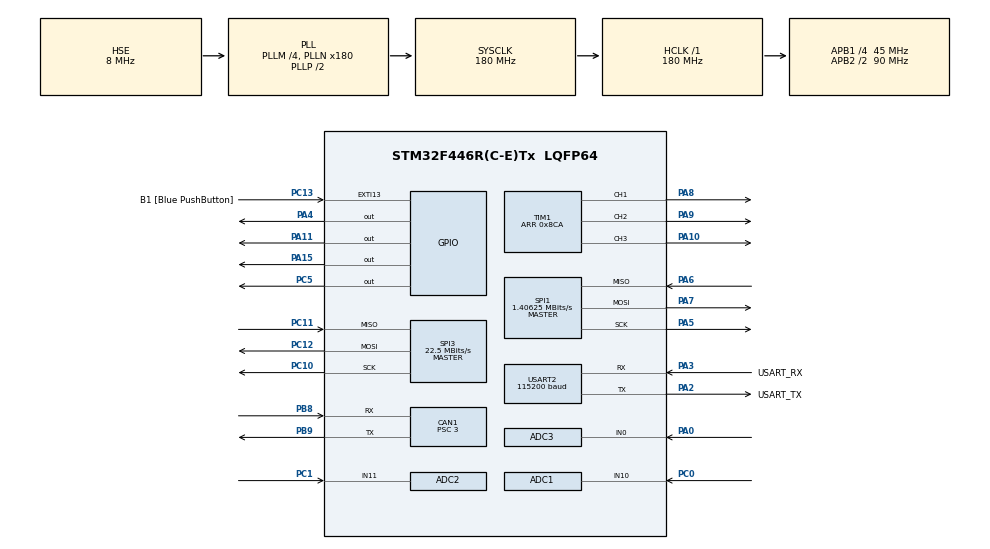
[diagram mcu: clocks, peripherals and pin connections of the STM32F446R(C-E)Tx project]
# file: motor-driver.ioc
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ADC1.Channel-0\#ChannelRegularConversion=ADC_CHANNEL_10
ADC1.ClockPrescaler=ADC_CLOCK_SYNC_PCLK_DIV4
ADC1.EOCSelection=ADC_EOC_SINGLE_CONV
ADC1.ExternalTrigConv=ADC_SOFTWARE_START
ADC1.Mode=ADC_TRIPLEMODE_REGSIMULT
ADC1.NbrOfConversion=1
ADC1.NbrOfConversionFlag=1
ADC1.Rank-0\#ChannelRegularConversion=1
ADC1.SamplingTime-0\#ChannelRegularConversion=ADC_SAMPLETIME_3CYCLES
ADC1.master=1
ADC2.Channel-0\#ChannelRegularConversion=ADC_CHANNEL_11
ADC2.ClockPrescaler=ADC_CLOCK_SYNC_PCLK_DIV4
ADC2.Mode=ADC_TRIPLEMODE_REGSIMULT
ADC2.NbrOfConversionFlag=1
ADC2.Rank-0\#ChannelRegularConversion=1
ADC2.SamplingTime-0\#ChannelRegularConversion=ADC_SAMPLETIME_3CYCLES
ADC3.Channel-2\#ChannelRegularConversion=ADC_CHANNEL_0
ADC3.ClockPrescaler=ADC_CLOCK_SYNC_PCLK_DIV4
ADC3.Mode=ADC_TRIPLEMODE_REGSIMULT
ADC3.NbrOfConversionFlag=1
ADC3.Rank-2\#ChannelRegularConversion=1
ADC3.SamplingTime-2\#ChannelRegularConversion=ADC_SAMPLETIME_3CYCLES
CAN1.BS1=CAN_BS1_12TQ
CAN1.BS2=CAN_BS2_2TQ
CAN1.CalculateBaudRate=1000000
CAN1.CalculateTimeBit=1000
CAN1.CalculateTimeQuantum=66.66666666666666
CAN1.Prescaler=3
Mcu.Family=STM32F4
Mcu.Name=STM32F446R(C-E)Tx
Mcu.Package=LQFP64
NVIC.CAN1_RX0_IRQn=true\:0\:0\:false\:false\:true\:true\:true\:true
NVIC.PriorityGroup=NVIC_PRIORITYGROUP_0
NVIC.TIM1_UP_TIM10_IRQn=true\:0\:0\:false\:false\:true\:true\:true\:true
NVIC.USART2_IRQn=true\:0\:0\:false\:false\:true\:true\:true\:true
PA0-WKUP.Signal=ADCx_IN0
PA10.GPIO_Speed=GPIO_SPEED_FREQ_VERY_HIGH
PA10.Signal=S_TIM1_CH3
PA11.GPIO_Speed=GPIO_SPEED_FREQ_VERY_HIGH
PA11.Signal=GPIO_Output
PA13.GPIO_Label=TMS
PA13.Mode=Serial_Wire
PA13.Signal=SYS_JTMS-SWDIO
PA14.GPIO_Label=TCK
PA14.Mode=Serial_Wire
PA14.Signal=SYS_JTCK-SWCLK
PA15.GPIO_Speed=GPIO_SPEED_FREQ_VERY_HIGH
PA15.Signal=GPIO_Output
PA2.GPIO_Label=USART_TX
PA2.Mode=Asynchronous
PA2.Signal=USART2_TX
PA3.GPIO_Label=USART_RX
PA3.Mode=Asynchronous
PA3.Signal=USART2_RX
PA4.GPIO_Speed=GPIO_SPEED_FREQ_VERY_HIGH
PA4.Signal=GPIO_Output
PA5.Mode=Full_Duplex_Master
PA5.Signal=SPI1_SCK
PA6.Mode=Full_Duplex_Master
PA6.Signal=SPI1_MISO
PA7.Mode=Full_Duplex_Master
PA7.Signal=SPI1_MOSI
PA8.GPIO_Speed=GPIO_SPEED_FREQ_VERY_HIGH
PA8.Signal=S_TIM1_CH1
PA9.GPIO_Speed=GPIO_SPEED_FREQ_VERY_HIGH
PA9.Signal=S_TIM1_CH2
PB3.GPIO_Label=SWO
PB3.Signal=SYS_JTDO-SWO
PB8.Mode=CAN_Activate
PB8.Signal=CAN1_RX
PB9.Mode=CAN_Activate
PB9.Signal=CAN1_TX
PC0.Signal=ADCx_IN10
PC1.Signal=ADCx_IN11
PC10.Mode=Full_Duplex_Master
PC10.Signal=SPI3_SCK
PC11.Mode=Full_Duplex_Master
PC11.Signal=SPI3_MISO
PC12.Mode=Full_Duplex_Master
PC12.Signal=SPI3_MOSI
PC13.GPIO_Label=B1 [Blue PushButton]
PC13.GPIO_ModeDefaultEXTI=GPIO_MODE_IT_FALLING
PC13.Signal=GPXTI13
PC5.GPIO_Speed=GPIO_SPEED_FREQ_VERY_HIGH
PC5.Signal=GPIO_Output
PH0-OSC_IN.Mode=HSE-External-Oscillator
PH0-OSC_IN.Signal=RCC_OSC_IN
PH1-OSC_OUT.Mode=HSE-External-Oscillator
PH1-OSC_OUT.Signal=RCC_OSC_OUT
ProjectManager.HeapSize=0x200
ProjectManager.StackSize=0x400
ProjectManager.TargetToolchain=STM32CubeIDE
RCC.48MHZClocksFreq_Value=84000000
RCC.AHBFreq_Value=180000000
RCC.APB1CLKDivider=RCC_HCLK_DIV4
RCC.APB1Freq_Value=45000000
RCC.APB1TimFreq_Value=90000000
RCC.APB2CLKDivider=RCC_HCLK_DIV2
RCC.APB2Freq_Value=90000000
RCC.APB2TimFreq_Value=180000000
RCC.CortexFreq_Value=180000000
RCC.FLatency-AdvancedSettings=FLASH_LATENCY_5
RCC.HCLKFreq_Value=180000000
RCC.HSE_VALUE=8000000
RCC.HSI_VALUE=16000000
RCC.PLLM=4
RCC.PLLN=180
RCC.PLLSourceVirtual=RCC_PLLSOURCE_HSE
RCC.SYSCLKFreq_VALUE=180000000
RCC.SYSCLKSource=RCC_SYSCLKSOURCE_PLLCLK
RCC.USBFreq_Value=180000000
RCC.VCOOutputFreq_Value=360000000
SH.ADCx_IN0.0=ADC3_IN0,IN0
SH.ADCx_IN10.0=ADC1_IN10,IN10
SH.ADCx_IN11.0=ADC2_IN11,IN11
SH.S_TIM1_CH1.0=TIM1_CH1,PWM Generation1 CH1
SH.S_TIM1_CH2.0=TIM1_CH2,PWM Generation2 CH2
SH.S_TIM1_CH3.0=TIM1_CH3,PWM Generation3 CH3
SPI1.BaudRatePrescaler=SPI_BAUDRATEPRESCALER_64
SPI1.CLKPhase=SPI_PHASE_2EDGE
SPI1.CalculateBaudRate=1.40625 MBits/s
SPI1.DataSize=SPI_DATASIZE_16BIT
SPI1.Direction=SPI_DIRECTION_2LINES
SPI1.FirstBit=SPI_FIRSTBIT_MSB
SPI1.Mode=SPI_MODE_MASTER
SPI1.VirtualType=VM_MASTER
SPI3.BaudRatePrescaler=SPI_BAUDRATEPRESCALER_2
SPI3.CalculateBaudRate=22.5 MBits/s
SPI3.DataSize=SPI_DATASIZE_8BIT
SPI3.Direction=SPI_DIRECTION_2LINES
SPI3.Mode=SPI_MODE_MASTER
SPI3.VirtualType=VM_MASTER
TIM1.AutoReloadPreload=TIM_AUTORELOAD_PRELOAD_ENABLE
TIM1.BreakPolarity=TIM_BREAKPOLARITY_HIGH
TIM1.Channel-PWM\ Generation1\ CH1=TIM_CHANNEL_1
TIM1.Channel-PWM\ Generation2\ CH2=TIM_CHANNEL_2
TIM1.Channel-PWM\ Generation3\ CH3=TIM_CHANNEL_3
TIM1.CounterMode=TIM_COUNTERMODE_CENTERALIGNED1
TIM1.OCFastMode_PWM-PWM\ Generation1\ CH1=TIM_OCFAST_ENABLE
TIM1.OCFastMode_PWM-PWM\ Generation2\ CH2=TIM_OCFAST_ENABLE
TIM1.OCFastMode_PWM-PWM\ Generation3\ CH3=TIM_OCFAST_ENABLE
TIM1.OCPolarity_1=TIM_OCPOLARITY_LOW
TIM1.OCPolarity_2=TIM_OCPOLARITY_LOW
TIM1.OCPolarity_3=TIM_OCPOLARITY_LOW
TIM1.Period=0x8CA
TIM1.RepetitionCounter=1
USART2.BaudRate=115200
USART2.VirtualMode=VM_ASYNC
VP_TIM1_VS_ClockSourceINT.Mode=Internal
board=NUCLEO-F446RE

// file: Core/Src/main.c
/* USER CODE BEGIN Header */
/**
  ******************************************************************************
  * @file           : main.c
  * @brief          : Main program body
  ******************************************************************************
  * @attention
  *
  * <h2><center>&copy; Copyright (c) 2020 STMicroelectronics.
  * All rights reserved.</center></h2>
  *
  * This software component is licensed by ST under BSD 3-Clause license,
  * the "License"; You may not use this file except in compliance with the
  * License. You may obtain a copy of the License at:
  *                        opensource.org/licenses/BSD-3-Clause
  *
  ******************************************************************************
  */

/// high-bandwidth 3-phase motor control for robots
/// Written by Ben Katz, with much inspiration from Bayley Wang, Nick Kirkby, Shane Colton, David Otten, and others
/// Hardware documentation can be found at build-its.blogspot.com

/* USER CODE END Header */
#include "main.h"
#include "adc.h"
#include "can.h"
#include "spi.h"
#include "tim.h"
#include "usart.h"
#include "gpio.h"

/* USER CODE BEGIN Includes */
#include "structs.h"
#include <stdio.h>
#include <string.h>

#include "stm32f4xx_flash.h"
#include "flash_writer.h"
#include "position_sensor.h"
#include "position_sensor_icmu.h"
#include "preference_writer.h"
#include "hw_config.h"
#include "user_config.h"
#include "fsm.h"
#include "drv8323.h"
#include "math_ops.h"
#include "calibration.h"
/* USER CODE END Includes */

/* USER CODE BEGIN PM */

#define VERSION_NUM 2.0f

/* USER CODE END PM */

/* USER CODE BEGIN PV */

/* Flash Registers */
float __float_reg[64];
int __int_reg[256];
PreferenceWriter prefs;

int count = 0;

/* Structs for control, etc */

ControllerStruct controller;
ObserverStruct observer;
COMStruct com;
FSMStruct state;
EncoderStruct comm_encoder;
EncoderCMUStruct new_encoder;
DRVStruct drv;
CalStruct comm_encoder_cal;
CANTxMessage can_tx;
CANRxMessage can_rx;

/* init but don't allocate calibration arrays */
int *error_array = NULL;
int *lut_array = NULL;

uint8_t Serial2RxBuffer[1];

uint32_t curr_time = 0;
uint32_t last_time = 0;

/* USER CODE END PV */

void SystemClock_Config(void);

int main(void)
{

  /* MCU Configuration--------------------------------------------------------*/

  /* Reset of all peripherals, Initializes the Flash interface and the Systick. */
  HAL_Init();

  /* Configure the system clock */
  SystemClock_Config();

  /* Initialize all configured peripherals */
  MX_GPIO_Init();
  MX_USART2_UART_Init();
  MX_TIM1_Init();
  MX_CAN1_Init();
  MX_SPI1_Init();
  MX_SPI3_Init();
  MX_ADC1_Init();
  MX_ADC2_Init();
  MX_ADC3_Init();
  /* USER CODE BEGIN 2 */

  /* Load settings from flash */
  preference_writer_init(&prefs, 6);
  preference_writer_load(prefs);

  /* Sanitize configs in case flash is empty*/
  if(E_ZERO==-1){E_ZERO = 0;}
  if(M_ZERO==-1){M_ZERO = 0;}
  if(isnan(I_BW) || I_BW==-1){I_BW = 1000;}
  if(isnan(I_MAX) || I_MAX ==-1){I_MAX=40;}
  if(isnan(I_FW_MAX) || I_FW_MAX ==-1){I_FW_MAX=0;}
  if(CAN_ID==-1){CAN_ID = 1;}
  if(CAN_MASTER==-1){CAN_MASTER = 0;}
  if(CAN_TIMEOUT==-1){CAN_TIMEOUT = 1000;}
  if(isnan(R_NOMINAL) || R_NOMINAL==-1){R_NOMINAL = 0.0f;}
  if(isnan(TEMP_MAX) || TEMP_MAX==-1){TEMP_MAX = 125.0f;}
  if(isnan(I_MAX_CONT) || I_MAX_CONT==-1){I_MAX_CONT = 14.0f;}

  //CURRENT CONTROLLER
//  if(isnan(K_SCALE) || K_SCALE==-1){K_SCALE = 0.00013310f;}                                                                                           //CURRENT CONTROLLER K_SCALE
//  if(isnan(KI_D) || KI_D==-1){KI_D = 0.0373f;}                                                                                                        //CURRENT CONTROLLER KI_D
//  if(isnan(KI_Q) || KI_Q==-1){KI_Q = 0.0373f;}
  //DEFAULT MOTOR PARAMS ARE FOR THE U12 MODULE BELOW
  //MOTOR PARAMS
  if(isnan(R_PHASE) || R_PHASE==-1){R_PHASE = 0.158f;}
//  if(isnan(L_D) || L_D==-1){L_D = 0.000084f;}
//  if(isnan(L_Q) || L_Q==-1){L_Q = 0.000084f;}

  if(isnan(I_CAL)||I_CAL==-1){I_CAL = 5.0f;} // not in mbed version
//  if(isnan(PPAIRS) || PPAIRS==-1){PPAIRS = 21.0f;} // is hardcoded in mbed ver
  if(isnan(GR) || GR==-1){GR = 1.0f;}
  if(isnan(KT) || KT==-1){KT = 1.0f;}
//  if(isnan(KT_OUT) || KT_OUT==-1){KT_OUT = 1.15f;} // new
//  if(isnan(WB) || WB==-1){WB = 0.00608f;} // new
//
//  //THERMAL OBSERVER
//  if(isnan(R_TH) || R_TH==-1){R_TH = 1.25f;}
//  if(isnan(INV_M_TH) || INV_M_TH==-1){INV_M_TH = 0.02825f;}
//  if(isnan(T_AMBIENT) || T_AMBIENT==-1){T_AMBIENT = 25.0f;}

  // all below ones not in mbed version
  if(isnan(KP_MAX) || KP_MAX==-1){KP_MAX = 500.0f;}
  if(isnan(KD_MAX) || KD_MAX==-1){KD_MAX = 5.0f;}
  if(isnan(P_MAX)){P_MAX = 12.5f;}
  if(isnan(P_MIN)){P_MIN = -12.5f;}
  if(isnan(V_MAX)){V_MAX = 65.0f;}
  if(isnan(V_MIN)){V_MIN = -65.0f;}

  printf("\n\r\n\r MIT Biomimetics Motor Driver \n\r\n\r");
  printf("\r\nFirmware Version Number: %.2f\r\n", VERSION_NUM);
  printf(" Position Sensor Electrical Offset:   %.4f\n\r", E_ZERO);
  printf(" Output Zero Position:  %.4f\n\r", M_ZERO);
  printf(" CAN ID:  %d\n\r", CAN_ID);
  printf(" POLE PAIRS:  %d\n\r", PPAIRS);

  /* Controller Setup */
  if(PHASE_ORDER){							// Timer channel to phase mapping

  }
  else{

  }

  init_controller_params(&controller);

  /* calibration "encoder" zeroing */
//  memset(&comm_encoder_cal.cal_position, 0, sizeof(EncoderStruct));
  memset(&comm_encoder_cal.cal_position, 0, sizeof(EncoderCMUStruct));

  /* NEW ENCODER SET UP */
  Init(&new_encoder, 524288, 0.0, 21);

  // test timer for encoder
//  CoreDebug->DEMCR |= CoreDebug_DEMCR_TRCENA_Msk;
//  DWT->CYCCNT = 0;
//  DWT->CTRL |= DWT_CTRL_CYCCNTENA_Msk;

//  /* commutation encoder setup */
//  comm_encoder.m_zero = M_ZERO;
//  comm_encoder.e_zero = E_ZERO;
//  comm_encoder.ppairs = PPAIRS;
//  ps_warmup(&comm_encoder, 100);			// clear the noisy data when the encoder first turns on

//  if(EN_ENC_LINEARIZATION){memcpy(&comm_encoder.offset_lut, &ENCODER_LUT, sizeof(comm_encoder.offset_lut));}	// Copy the linearization lookup table
//  else{memset(&comm_encoder.offset_lut, 0, sizeof(comm_encoder.offset_lut));}
  //for(int i = 0; i<128; i++){printf("%d\r\n", comm_encoder.offset_lut[i]);}

  /* Turn on ADCs */
  HAL_ADC_Start(&hadc1);
  HAL_ADC_Start(&hadc2);
  HAL_ADC_Start(&hadc3);

  /* DRV8323 setup */
  HAL_GPIO_WritePin(DRV_CS, GPIO_PIN_SET ); 	// CS high
  HAL_GPIO_WritePin(ENABLE_PIN, GPIO_PIN_SET );
  HAL_Delay(1);
  //drv_calibrate(drv);
  HAL_Delay(1);
  drv_write_DCR(drv, 0x0, DIS_GDF_EN, 0x0, PWM_MODE_3X, 0x0, 0x0, 0x0, 0x0, 0x1);
  HAL_Delay(1);
  int CSA_GAIN;
  if(I_MAX <= 40.0f){CSA_GAIN = CSA_GAIN_40;}	// Up to 40A use 40X amplifier gain
  else{CSA_GAIN = CSA_GAIN_20;}					// From 40-60A use 20X amplifier gain.  (Make this generic in the future)
  drv_write_CSACR(drv, 0x0, 0x1, 0x0, CSA_GAIN_40, 0x0, 0x1, 0x1, 0x1, SEN_LVL_0_25);
  HAL_Delay(1);
  drv_write_CSACR(drv, 0x0, 0x1, 0x0, CSA_GAIN, 0x1, 0x0, 0x0, 0x0, SEN_LVL_0_25);
  HAL_Delay(1);
  zero_current(&controller);
  HAL_Delay(1);
  drv_write_OCPCR(drv, TRETRY_50US, DEADTIME_50NS, OCP_RETRY, OCP_DEG_4US, VDS_LVL_0_45);
  HAL_Delay(1);
  drv_disable_gd(drv);
  HAL_Delay(1);
  //drv_enable_gd(drv);   */
  printf("ADC A OFFSET: %d     ADC B OFFSET: %d\r\n", controller.adc1_offset, controller.adc2_offset);

  /* Turn on PWM */
  HAL_TIM_PWM_Start(&htim1, TIM_CHANNEL_1);
  HAL_TIM_PWM_Start(&htim1, TIM_CHANNEL_2);
  HAL_TIM_PWM_Start(&htim1, TIM_CHANNEL_3);

  /* CAN setup */
  can_rx_init(&can_rx);
  can_tx_init(&can_tx);
  HAL_CAN_Start(&CAN_H); //start CAN
  //__HAL_CAN_ENABLE_IT(&CAN_H, CAN_IT_RX_FIFO0_MSG_PENDING); // Start can interrupt

  /* Set Interrupt Priorities */
  HAL_NVIC_SetPriority(PWM_ISR, 0x0,0x0); // commutation > communication
  HAL_NVIC_SetPriority(CAN_ISR, 0x01, 0x01);

  /* Start the FSM */
  state.state = MENU_MODE;
  state.next_state = MENU_MODE;
  state.ready = 1;

  /* Turn on interrupts */
  HAL_UART_Receive_IT(&huart2, (uint8_t *)Serial2RxBuffer, 1);
  HAL_TIM_Base_Start_IT(&htim1);

  /* USER CODE END 2 */

  /* Infinite loop */
  /* USER CODE BEGIN WHILE */
  while (1)
  {

	  HAL_Delay(100);
	  drv_print_faults(drv);
	 // if(state.state==MOTOR_MODE){
	  	  //printf("%.2f %.2f %.2f %.2f %.2f\r\n", controller.p_des, controller.v_des, controller.kp, controller.kd, controller.t_ff);
	  //}
    /* USER CODE END WHILE */

  }
}

void SystemClock_Config(void)
{
  RCC_OscInitTypeDef RCC_OscInitStruct = {0};
  RCC_ClkInitTypeDef RCC_ClkInitStruct = {0};

  /** Configure the main internal regulator output voltage
  */
  __HAL_RCC_PWR_CLK_ENABLE();
  __HAL_PWR_VOLTAGESCALING_CONFIG(PWR_REGULATOR_VOLTAGE_SCALE1);

  /** Initializes the RCC Oscillators according to the specified parameters
  * in the RCC_OscInitTypeDef structure.
  */
  RCC_OscInitStruct.OscillatorType = RCC_OSCILLATORTYPE_HSE;
  RCC_OscInitStruct.HSEState = RCC_HSE_ON;
  RCC_OscInitStruct.PLL.PLLState = RCC_PLL_ON;
  RCC_OscInitStruct.PLL.PLLSource = RCC_PLLSOURCE_HSE;
  RCC_OscInitStruct.PLL.PLLM = 4;
  RCC_OscInitStruct.PLL.PLLN = 180;
  RCC_OscInitStruct.PLL.PLLP = RCC_PLLP_DIV2;
  RCC_OscInitStruct.PLL.PLLQ = 2;
  RCC_OscInitStruct.PLL.PLLR = 2;
  if (HAL_RCC_OscConfig(&RCC_OscInitStruct) != HAL_OK)
  {
    Error_Handler();
  }

  /** Activate the Over-Drive mode
  */
  if (HAL_PWREx_EnableOverDrive() != HAL_OK)
  {
    Error_Handler();
  }

  /** Initializes the CPU, AHB and APB buses clocks
  */
  RCC_ClkInitStruct.ClockType = RCC_CLOCKTYPE_HCLK|RCC_CLOCKTYPE_SYSCLK
                              |RCC_CLOCKTYPE_PCLK1|RCC_CLOCKTYPE_PCLK2;
  RCC_ClkInitStruct.SYSCLKSource = RCC_SYSCLKSOURCE_PLLCLK;
  RCC_ClkInitStruct.AHBCLKDivider = RCC_SYSCLK_DIV1;
  RCC_ClkInitStruct.APB1CLKDivider = RCC_HCLK_DIV4;
  RCC_ClkInitStruct.APB2CLKDivider = RCC_HCLK_DIV2;

  if (HAL_RCC_ClockConfig(&RCC_ClkInitStruct, FLASH_LATENCY_5) != HAL_OK)
  {
    Error_Handler();
  }
}

void Error_Handler(void)
{
}
